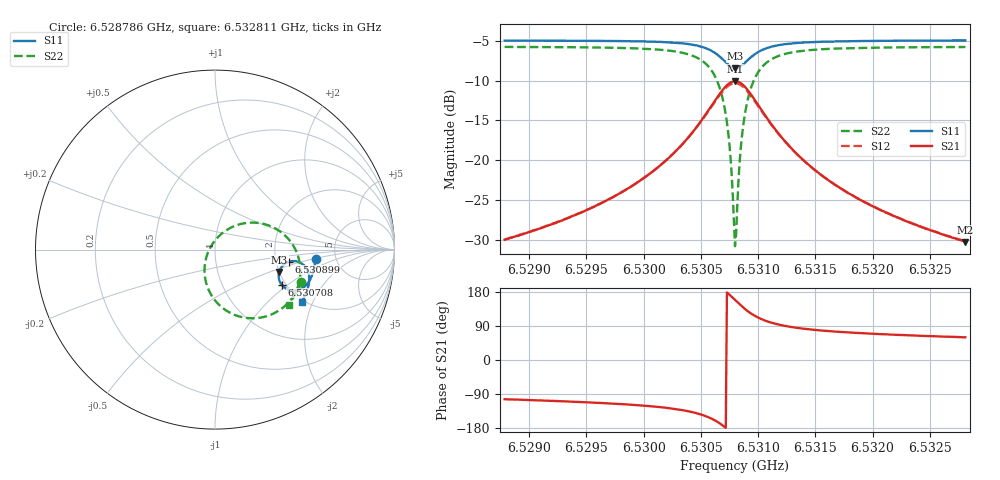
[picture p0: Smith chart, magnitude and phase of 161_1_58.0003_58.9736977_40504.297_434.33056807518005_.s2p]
#  HZ  S  RI  R  50.00
! Rohde & Schwarz Vector Network Analyzer
! Rohde-Schwarz,ZNB20-2Port,1311601062101988,3.16
! Created: UTC 3/21/2024, 12:57:26 AM
! freq[Hz]  re:S11  im:S11  re:S21  im:S21  re:S12  im:S12  re:S22  im:S22
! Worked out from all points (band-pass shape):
!   401 points, 6.528786 GHz to 6.532811 GHz, reference 50 ohm
!   highest |S21| = -10.06 dB at 6.530798 GHz (marker M1); lowest = -30.2 dB at 6.532811 GHz (marker M2)
!   |S21| within 3 dB of the highest: 6.530598 GHz to 6.531001 GHz (402.7 kHz wide, 0.00617 % of centre)
!   lowest |S11| = -8.4 dB at 6.530798 GHz (marker M3), VSWR 2.22, Z = 100 - j29 ohm
!   |S11| at or under -10 dB: nowhere
!   |S22| runs from -30.8 to -5.8 dB; largest |S21 - S12| = 0.013
!   S11 on the Smith chart (normalised r, x): 6.528786 GHz: 3.49, -0.53; 6.530708 GHz: 1.90, -0.90; 6.530899 GHz: 2.36, -0.38; 6.532811 GHz: 1.95, -1.66
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6.5287856e9  0.5605 -0.0518  -0.0074 -0.0309  -0.00811 -0.0308  0.4814 -0.181
6.5294599e9  0.5512 -0.1085  -0.017 -0.044  -0.0182 -0.0438  0.4492 -0.2438
6.5298524e9  0.5397 -0.1458  -0.0303 -0.0586  -0.0318 -0.0578  0.4139 -0.2903
6.5301342e9  0.524 -0.1772  -0.0513 -0.0758  -0.0535 -0.0744  0.3653 -0.333
6.5303657e9  0.4973 -0.2077  -0.0919 -0.0958  -0.0948 -0.0925  0.2828 -0.3724
6.5305368e9  0.4532 -0.2277  -0.1614 -0.1028  -0.1639 -0.0959  0.1544 -0.3771
6.5306374e9  0.4073 -0.2228  -0.2325 -0.0764  -0.2318 -0.066  0.035 -0.3188
6.5307079e9  0.3711 -0.1953  -0.2853 -0.0165  -0.2792 -0.0059  -0.042 -0.2083
6.5307481e9  0.3573 -0.1669  -0.3018 0.0374  -0.2924 0.046  -0.0587 -0.1157
6.5307884e9  0.3556 -0.1326  -0.2973 0.0993  -0.2859 0.1043  -0.0389 -0.0152
6.5307984e9  0.3576 -0.1241  -0.2922 0.1146  -0.2808 0.1184  -0.0276 0.00872
6.5308085e9  0.3604 -0.1158  -0.2857 0.1291  -0.2743 0.132  -0.0142 0.0314
6.5308186e9  0.364 -0.1076  -0.2779 0.1431  -0.2665 0.1449  0.0012 0.0523
6.5308387e9  0.3736 -0.0932  -0.2587 0.1678  -0.2478 0.1677  0.0375 0.089
6.5308588e9  0.3856 -0.0815  -0.2359 0.1877  -0.2261 0.186  0.0788 0.1172
6.5308991e9  0.4129 -0.0672  -0.186 0.2115  -0.1787 0.2084  0.1654 0.1472
6.5309695e9  0.4571 -0.0661  -0.1089 0.2141  -0.1051 0.2109  0.295 0.1361
6.5310702e9  0.496 -0.0879  -0.0423 0.1827  -0.0404 0.1809  0.4022 0.0668
6.5312211e9  0.519 -0.1239  -0.00195 0.1352  -0.00051 0.1346  0.4608 -0.0307
6.5314727e9  0.5253 -0.1676  0.0153 0.0885  0.0164 0.0881  0.4754 -0.1295
6.532147e9  0.509 -0.2387  0.0179 0.0425  0.0186 0.0422  0.4466 -0.2468
6.5328112e9  0.4845 -0.2899  0.0154 0.0266  0.0161 0.0265  0.4121 -0.3067
